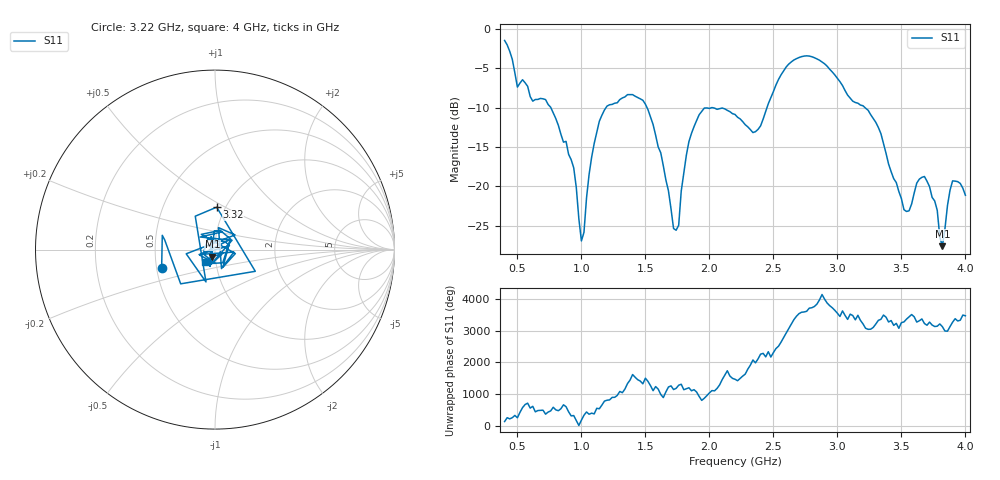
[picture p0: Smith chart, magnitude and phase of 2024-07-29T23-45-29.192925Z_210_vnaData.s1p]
!Created with skrf (http://scikit-rf.org).
# Hz S RI R 50.0
!freq ReS11 ImS11
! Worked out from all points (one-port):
!   181 points, 400 MHz to 4 GHz, reference 50 ohm
!   lowest |S11| = -27.6 dB at 3.82 GHz (marker M1), VSWR 1.09, Z = 48.4 - j3.8 ohm
!   |S11| at or under -10 dB: 761.1 MHz to 1.192 GHz (431.3 MHz wide, 44.2 % of centre); 1.513 GHz to 2.019 GHz (506.7 MHz wide, 28.7 % of centre); 3.215 GHz to end of sweep (the widest 3 of 4)
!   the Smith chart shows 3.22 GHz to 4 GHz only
!   S11 on the Smith chart (normalised r, x): 3.22 GHz: 0.53, -0.12; 3.32 GHz: 0.91, +0.46; 4 GHz: 0.89, -0.12
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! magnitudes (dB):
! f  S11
! 400 MHz  -1.5
! 500 MHz  -7.4
! 720 MHz  -9.0
! 860 MHz  -14.4
! 940 MHz  -17.6
! 1 GHz  -26.9
! 1.08 GHz  -16.3
! 1.14 GHz  -11.7
! 1.3 GHz  -9.0
! 1.52 GHz  -10.3
! 1.62 GHz  -15.7
! 1.72 GHz  -25.4
! 1.76 GHz  -24.9
! 1.82 GHz  -16.0
! 1.92 GHz  -10.9
! 2.2 GHz  -10.9
! 2.38 GHz  -12.8
! 2.66 GHz  -4.0
! 2.86 GHz  -4.0
! 3.1 GHz  -8.8
! 3.22 GHz  -10.1
! 3.32 GHz  -12.5
! 3.56 GHz  -23.1
! 3.68 GHz  -18.7
! 3.78 GHz  -23.0
! 3.82 GHz  -27.6
! 3.9 GHz  -19.3
! 4 GHz  -21.1
